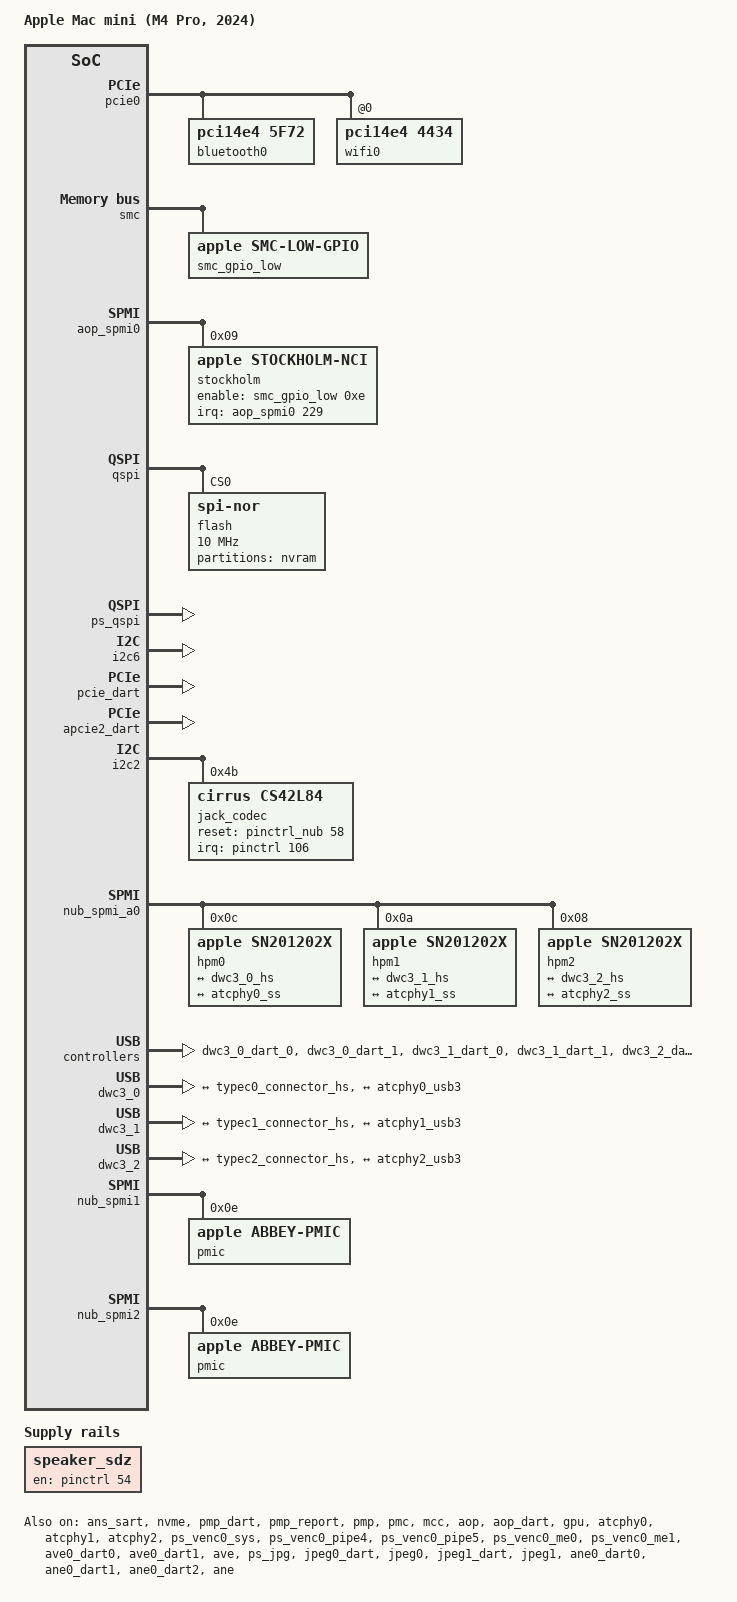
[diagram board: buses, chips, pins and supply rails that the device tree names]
// SPDX-License-Identifier: GPL-2.0+ OR MIT
/*
 * Mac mini (M4 Pro, 2024)
 *
 * target-type: J773s
 *
 * Wired like the J616s from this board's ADT (macOS 26.6.2). It has no
 * panel, keyboard, trackpad, battery, camera or Touch ID sensor.
 *
 * Copyright The Asahi Linux Contributors
 */

/dts-v1/;

#include "t6040.dtsi"
#include "t604x-j575-j773.dtsi"
#include <dt-bindings/gpio/gpio.h>

/ {
	compatible = "apple,j773s", "apple,t6040", "apple,arm-platform";
	model = "Apple Mac mini (M4 Pro, 2024)";

	aliases {
		nvram = &nvram;
		spi0 = &qspi;
		rtc0 = &smc_rtc;
		rtc1 = &pmu_rtc;
		wifi0 = "/pcie@1cb0000000/pci@0,0/wifi@0,0";
		bluetooth0 = "/pcie@1cb0000000/pci@0,0/bluetooth@0,1";
		ethernet0 = &ethernet0;
		/* the boot loader finds the GPU node through this alias */
		gpu = &gpu;
		pmp = &pmp;
		/* the boot loader reserves the SEP firmware through this alias */
		sep = &sep;
	};

	reserved-memory {
		#address-cells = <2>;
		#size-cells = <2>;
		ranges;
		/* The loader adds its own reservations */

		/* Filled and enabled by the loader, as on the J616s. */
		ane_fw_text: ane-firmware-text@0 {
			compatible = "apple,asc-mem";
			reg = <0 0 0 0>;
			no-map;
			status = "disabled";
		};

		ane_fw_data: ane-firmware-data@0 {
			compatible = "apple,asc-mem";
			reg = <0 0 0 0>;
			no-map;
			status = "disabled";
		};

		gpu_fw_text: gpu-fw-text {
			reg = <0 0 0 0>;
			no-map;
			status = "disabled";
		};

		gpu_fw_data: gpu-fw-data {
			reg = <0 0 0 0>;
			no-map;
			status = "disabled";
		};

		uat_ttbs: uat-ttbs {
			reg = <0 0 0 0>;
			no-map;
			status = "disabled";
		};

		uat_pagetables: uat-pagetables {
			reg = <0 0 0 0>;
			no-map;
			status = "disabled";
		};

		uat_l2_pagetables: uat-l2-pagetables {
			reg = <0 0 0 0>;
			no-map;
			status = "disabled";
		};

		uat_handoff: uat-handoff {
			reg = <0 0 0 0>;
			no-map;
			status = "disabled";
		};
	};
};

/* GPU operating points, thermal zones and the sensors they read */
#include "t6040-gpu-thermal.dtsi"

/ {
	/* The speaker amp's shutdown line (SDZ, AP pin 54, low = shutdown). */
	speaker_sdz: regulator-sn012776-sdz {
		compatible = "regulator-fixed";
		regulator-name = "sn012776-sdz";
		gpios = <&pinctrl 54 GPIO_ACTIVE_HIGH>;
		enable-active-high;
	};

	/*
	 * The speaker stays off: there is no protection profile for it, and
	 * the ADT's AOP speaker stream returns no V/I sense. The card, the amp
	 * and the AOP speaker stream are all left out or disabled.
	 */
	sound: sound {
		compatible = "apple,j773-macaudio", "apple,macaudio";
		model = "Mac mini J773";
		#address-cells = <1>;
		#size-cells = <0>;
		status = "disabled";

		dai-link@0 {
			reg = <0>;
			link-name = "Speaker";

			cpu {
				sound-dai = <&aop_audio 3>;
			};

			codec {
				sound-dai = <&speaker>;
			};
		};
	};

	/* The headphone jack, a card of its own as on the J616s. */
	sound_jack: sound-jack {
		compatible = "apple,j773-macaudio-jack", "apple,macaudio";
		model = "Mac mini J773 Jack";
		#address-cells = <1>;
		#size-cells = <0>;

		dai-link@0 {
			reg = <0>;
			link-name = "Headphone Jack";

			cpu {
				sound-dai = <&aop_audio 4>;
			};

			codec {
				sound-dai = <&jack_codec>;
			};
		};
	};
};

&cpuidle {
	status = "okay";
};

&smc {
	status = "okay";

	smc_gpio_low: gpio-low {
		compatible = "apple,smc-low-gpio";
		gpio-controller;
		#gpio-cells = <2>;
		apple,output-templates = <0xe 0x00800000>;
	};
};

/* The Stockholm NFC controller (ADT aop-spmi0 stockholm-spmi), as on the J616s. */
&aop_spmi0 {
	status = "okay";

	stockholm: nfc@9 {
		compatible = "apple,stockholm-nci";
		reg = <9 SPMI_USID>;
		interrupt-parent = <&aop_spmi0>;
		interrupts = <229 IRQ_TYPE_EDGE_RISING>,
			     <230 IRQ_TYPE_EDGE_RISING>,
			     <227 IRQ_TYPE_EDGE_RISING>;
		interrupt-names = "host-wake", "data-ready", "error";
		enable-gpios = <&smc_gpio_low 0xe GPIO_ACTIVE_HIGH>;
	};
};

&smc_mbox {
	status = "okay";
};

&nub_spmi0 {
	status = "okay";
};

&pinctrl {
	status = "okay";

	wifi_clkreq_pins: wifi-clkreq-pins {
		pinmux = <APPLE_PINMUX(0, 1)>;
	};

	eth_clkreq_pins: eth-clkreq-pins {
		pinmux = <APPLE_PINMUX(2, 1)>;
	};
};

/* As on the J616s: the AOP firmware owns this bank's interrupts. */
&pinctrl_nub {
	status = "okay";
	/delete-property/ interrupt-controller;
	/delete-property/ #interrupt-cells;
	/delete-property/ interrupts;
};

/* Boot NOR; the partition is the ADT /arm-io/qspi/spinor/anvram. */
&qspi {
	status = "okay";

	flash@0 {
		compatible = "jedec,spi-nor";
		reg = <0>;
		spi-max-frequency = <10000000>;
		spi-rx-bus-width = <1>;
		spi-tx-bus-width = <1>;

		partitions {
			compatible = "fixed-partitions";
			#address-cells = <1>;
			#size-cells = <1>;

			nvram: partition@700000 {
				label = "nvram";
				reg = <0x700000 0x100000>;
			};
		};
	};
};

&ps_qspi {
	status = "okay";
};

/* The Type-C retimers (ADT uatcrt at 0x18/0x19/0x1a); no driver yet. */
&i2c6 {
	status = "okay";
};

/*
 * Fan and system keys. The J773s SMC key table has not been read: keys it
 * lacks keep their channel and stay hidden.
 */
#include "hwmon-common.dtsi"
#include "hwmon-mini.dtsi"

&smc_hwmon {
	apple,thermal-pressure-key = "mTPL";
};

&pcie_dart {
	status = "okay";
};

&apcie2_dart {
	power-domains = <&ps_apcie_sys_gp>;
	status = "okay";
};

/*
 * Wi-Fi and Bluetooth on port 0 and Ethernet on port 2 (ADT apcie0
 * pci-bridge0 and pci-bridge2). The boot loader finds them through the
 * aliases and adds the calibration and the addresses. The Ethernet chip
 * depends on the configuration, so its node has no compatible.
 */
/ {
	pcie0: pcie@1cb0000000 {
		compatible = "apple,t6041-pcie", "apple,t6020-pcie";
		reg = <0x1c 0xb0000000 0x0 0x1000000>,	/* config */
		      <0x4 0x14000000 0x0 0x4000>,	/* rc */
		      <0x4 0x10028000 0x0 0x4000>,	/* port0 */
		      <0x4 0x11028000 0x0 0x4000>,	/* port1 */
		      <0x4 0x12028000 0x0 0x4000>,	/* port2 */
		      <0x4 0x13028000 0x0 0x4000>,	/* port3 */
		      <0x4 0x17020000 0x0 0x4000>,	/* phy0 */
		      <0x4 0x17024000 0x0 0x4000>,	/* phy1 */
		      <0x4 0x17028000 0x0 0x4000>,	/* phy2 */
		      <0x4 0x1702c000 0x0 0x4000>;	/* phy3 */
		reg-names = "config", "rc",
			    "port0", "port1", "port2", "port3",
			    "phy0", "phy1", "phy2", "phy3";
		ranges = <0x43000000 0xb 0xc0000000 0xb 0xc0000000 0x0 0x20000000>,
			 <0x02000000 0x0 0x80000000 0xb 0x80000000 0x0 0x40000000>;
		pinctrl-names = "default";
		pinctrl-0 = <&wifi_clkreq_pins &eth_clkreq_pins>;
		#address-cells = <3>;
		#size-cells = <2>;
		bus-range = <0 2>;
		iommu-map-mask = <0xffff>;
		iommu-map = <0x100 &pcie_dart 1 2>, <0x200 &apcie2_dart 1 1>;
		msi-ranges = <&aic AIC_IRQ 2071 IRQ_TYPE_EDGE_RISING 32>;
		msi-parent = <&pcie0>;
		msi-controller;
		/* indexed by port */
		interrupts = <AIC_IRQ 1723 IRQ_TYPE_LEVEL_HIGH>,
			     <AIC_IRQ 1732 IRQ_TYPE_LEVEL_HIGH>,
			     <AIC_IRQ 1741 IRQ_TYPE_LEVEL_HIGH>;
		interrupt-parent = <&aic>;
		device_type = "pci";

		port00: pci@0,0 {
			reg = <0 0 0 0 0>;
			ranges;
			interrupt-map = <0 0 0 1 &port00 0 0 0 0>,
					<0 0 0 2 &port00 0 0 0 1>,
					<0 0 0 3 &port00 0 0 0 2>,
					<0 0 0 4 &port00 0 0 0 3>;
			interrupt-map-mask = <0 0 0 7>;
			#interrupt-cells = <1>;
			interrupt-controller;
			#address-cells = <3>;
			#size-cells = <2>;
			/* ADT /amfm reg_on gP13 */
			pwren-gpios = <&smc_gpio 0x13 GPIO_ACTIVE_HIGH>;
			reset-gpios = <&pinctrl 4 GPIO_ACTIVE_LOW>;
			device_type = "pci";

			bluetooth0: bluetooth@0,1 {
				compatible = "pci14e4,5f72";
				reg = <0x100 0 0 0 0>;
				/* To be filled by the loader */
				local-bd-address = [00 00 00 00 00 00];
				/* ADT /arm-io/wlan module-instance */
				brcm,board-type = "apple,sakhalin";
				status = "okay";
			};

			wifi0: wifi@0,0 {
				compatible = "pci14e4,4434", "brcm,bcm4329-fmac";
				reg = <0 0 0 0 0>;
				brcm,ccode-map-trivial;
				brcm,board-type = "apple,sakhalin";
			};
		};

		port02: pci@2,0 {
			device_type = "pci";
			reg = <0x1000 0 0 0 0>;
			reset-gpios = <&pinctrl 6 GPIO_ACTIVE_LOW>;
			bus-range = <2 2>;
			#address-cells = <3>;
			#size-cells = <2>;
			ranges;
			interrupt-controller;
			#interrupt-cells = <1>;
			interrupt-map-mask = <0 0 0 7>;
			interrupt-map = <0 0 0 1 &port02 0 0 0 0>,
					<0 0 0 2 &port02 0 0 0 1>,
					<0 0 0 3 &port02 0 0 0 2>,
					<0 0 0 4 &port02 0 0 0 3>;

			ethernet0: ethernet@0,0 {
				reg = <0x20000 0x0 0x0 0x0 0x0>;
				/* To be filled by the loader */
				local-mac-address = [00 10 18 00 00 00];
			};
		};
	};
};

&ans_mbox {
	status = "okay";
};

&ans_sart {
	status = "okay";
};

&nvme {
	status = "okay";
};

&pmp_dart {
	status = "okay";
};

&pmp_report {
	status = "okay";
};

&pmp {
	status = "okay";
};

&pmp_mbox {
	status = "okay";
};

&pmc {
	status = "okay";
};

&mcc {
	status = "okay";
};

&aop {
	status = "okay";
};

&aop_mbox {
	status = "okay";
};

&aop_dart {
	status = "okay";
};

/* No ambient light sensor and no lid. */
&aop_als {
	status = "disabled";
};

&aop_las {
	status = "disabled";
};

&admac0 {
	status = "okay";
};

&admac1 {
	status = "okay";
};

/*
 * No microphones: only the jack's streams, "cout" and "cin" on base-ns ADMAC
 * channels 4 and 5 (ADT audio-codec-output and audio-codec-input).
 */
&aop_audio {
	dmas = <&admac1 4>, <&admac1 5>;
	dma-names = "cout", "cin";
	apple,chassis-name = "J773";
	apple,machine-kind = "Mac mini";
};

/*
 * The SN012776 speaker amp (ADT /arm-io/i2c1/audio-speaker): interrupt on AP
 * pin 55, sense slots from speaker-config as on the J616s. Disabled with the
 * speaker card.
 */
&i2c1 {
	speaker: codec@38 {
		compatible = "ti,sn012776", "ti,tas2764";
		reg = <0x38>;
		SDZ-supply = <&speaker_sdz>;
		#sound-dai-cells = <0>;
		sound-name-prefix = "Speaker";
		interrupts-extended = <&pinctrl 55 IRQ_TYPE_LEVEL_LOW>;
		ti,imon-slot-no = <0>;
		ti,vmon-slot-no = <2>;
		status = "disabled";
	};
};

/*
 * The CS42L84 headphone codec (ADT /arm-io/i2c2/audio-codec-output@4B):
 * reset on nub pin 58, interrupt on AP pin 106, as on the J616s.
 */
&i2c2 {
	status = "okay";

	jack_codec: codec@4b {
		compatible = "cirrus,cs42l84";
		reg = <0x4b>;
		reset-gpios = <&pinctrl_nub 58 GPIO_ACTIVE_HIGH>;
		#sound-dai-cells = <0>;
		interrupts-extended = <&pinctrl 106 IRQ_TYPE_LEVEL_LOW>;
		sound-name-prefix = "Jack";
	};
};

/* As on the J616s: the loaded GPU firmware keeps running across sleep. */
&ps_afr {
	apple,always-on;
};

&ps_gfx {
	apple,always-on;
};

/* The loader fills the operating points, calibration and all six memory regions. */
&agx_mbox {
	status = "okay";
};

&gpu {
	memory-region = <&uat_ttbs>, <&uat_pagetables>, <&uat_handoff>,
			<&gpu_fw_data>, <&uat_l2_pagetables>, <&gpu_fw_text>;
	memory-region-names = "ttbs", "pagetables", "handoff", "fw-data",
			      "l2-pagetables", "fw-text";
	operating-points-v2 = <&gpu_opp>;
	apple,cs-opp = <&gpu_cs_opp>;
	apple,afr-opp = <&gpu_afr_opp>;
	apple,idle-off-delay-ms = <16>;
	status = "okay";
};

/*
 * The three back Thunderbolt ports (ADT nub-spmi-a0 hpm0-2), all on one
 * bus. The ADT lists the event, sleep and wake interrupts; select is event
 * + 2. The two front ports are behind a hub, in t6040-j773s-usb-front.dtsi.
 */
&nub_spmi_a0 {
	status = "okay";

	hpm0: usb-pd@c {
		compatible = "apple,sn201202x";
		reg = <0xc SPMI_USID>;
		interrupts = <11 IRQ_TYPE_EDGE_RISING>,
			     <13 IRQ_TYPE_EDGE_RISING>,
			     <17 IRQ_TYPE_EDGE_RISING>,
			     <19 IRQ_TYPE_EDGE_RISING>;
		interrupt-names = "irq", "select", "sleep", "wake";

		typec0: connector {
			compatible = "usb-c-connector";
			label = "USB-C Back Middle";
			power-role = "dual";
			data-role = "dual";

			ports {
				#address-cells = <1>;
				#size-cells = <0>;

				port@0 {
					reg = <0>;
					typec0_connector_hs: endpoint {
						remote-endpoint = <&dwc3_0_hs>;
					};
				};

				port@1 {
					reg = <1>;
					typec0_connector_ss: endpoint {
						remote-endpoint = <&atcphy0_ss>;
					};
				};
			};
		};
	};

	hpm1: usb-pd@a {
		compatible = "apple,sn201202x";
		reg = <0xa SPMI_USID>;
		interrupts = <37 IRQ_TYPE_EDGE_RISING>,
			     <39 IRQ_TYPE_EDGE_RISING>,
			     <43 IRQ_TYPE_EDGE_RISING>,
			     <45 IRQ_TYPE_EDGE_RISING>;
		interrupt-names = "irq", "select", "sleep", "wake";

		typec1: connector {
			compatible = "usb-c-connector";
			label = "USB-C Back Left";
			power-role = "dual";
			data-role = "dual";

			ports {
				#address-cells = <1>;
				#size-cells = <0>;

				port@0 {
					reg = <0>;
					typec1_connector_hs: endpoint {
						remote-endpoint = <&dwc3_1_hs>;
					};
				};

				port@1 {
					reg = <1>;
					typec1_connector_ss: endpoint {
						remote-endpoint = <&atcphy1_ss>;
					};
				};
			};
		};
	};

	hpm2: usb-pd@8 {
		compatible = "apple,sn201202x";
		reg = <0x8 SPMI_USID>;
		interrupts = <63 IRQ_TYPE_EDGE_RISING>,
			     <65 IRQ_TYPE_EDGE_RISING>,
			     <69 IRQ_TYPE_EDGE_RISING>,
			     <71 IRQ_TYPE_EDGE_RISING>;
		interrupt-names = "irq", "select", "sleep", "wake";

		typec2: connector {
			compatible = "usb-c-connector";
			label = "USB-C Back Right";
			power-role = "dual";
			data-role = "dual";

			ports {
				#address-cells = <1>;
				#size-cells = <0>;

				port@0 {
					reg = <0>;
					typec2_connector_hs: endpoint {
						remote-endpoint = <&dwc3_2_hs>;
					};
				};

				port@1 {
					reg = <1>;
					typec2_connector_ss: endpoint {
						remote-endpoint = <&atcphy2_ss>;
					};
				};
			};
		};
	};
};

&atcphy0 {
	status = "okay";

	ports {
		#address-cells = <1>;
		#size-cells = <0>;

		port@0 {
			reg = <0>;
			atcphy0_ss: endpoint {
				remote-endpoint = <&typec0_connector_ss>;
			};
		};

		port@1 {
			reg = <1>;
			atcphy0_usb3: endpoint {
				remote-endpoint = <&dwc3_0_ss>;
			};
		};
	};
};

&atcphy0_mbox {
	status = "okay";
};

&dwc3_0_dart_0 {
	status = "okay";
};

&dwc3_0_dart_1 {
	status = "okay";
};

&dwc3_0 {
	status = "okay";

	ports {
		#address-cells = <1>;
		#size-cells = <0>;

		port@0 {
			reg = <0>;
			dwc3_0_hs: endpoint {
				remote-endpoint = <&typec0_connector_hs>;
			};
		};

		port@1 {
			reg = <1>;
			dwc3_0_ss: endpoint {
				remote-endpoint = <&atcphy0_usb3>;
			};
		};
	};
};

&atcphy1 {
	status = "okay";

	ports {
		#address-cells = <1>;
		#size-cells = <0>;

		port@0 {
			reg = <0>;
			atcphy1_ss: endpoint {
				remote-endpoint = <&typec1_connector_ss>;
			};
		};

		port@1 {
			reg = <1>;
			atcphy1_usb3: endpoint {
				remote-endpoint = <&dwc3_1_ss>;
			};
		};
	};
};

&atcphy1_mbox {
	status = "okay";
};

&dwc3_1_dart_0 {
	status = "okay";
};

&dwc3_1_dart_1 {
	status = "okay";
};

&dwc3_1 {
	status = "okay";

	ports {
		#address-cells = <1>;
		#size-cells = <0>;

		port@0 {
			reg = <0>;
			dwc3_1_hs: endpoint {
				remote-endpoint = <&typec1_connector_hs>;
			};
		};

		port@1 {
			reg = <1>;
			dwc3_1_ss: endpoint {
				remote-endpoint = <&atcphy1_usb3>;
			};
		};
	};
};

&atcphy2 {
	status = "okay";

	ports {
		#address-cells = <1>;
		#size-cells = <0>;

		port@0 {
			reg = <0>;
			atcphy2_ss: endpoint {
				remote-endpoint = <&typec2_connector_ss>;
			};
		};

		port@1 {
			reg = <1>;
			atcphy2_usb3: endpoint {
				remote-endpoint = <&dwc3_2_ss>;
			};
		};
	};
};

&atcphy2_mbox {
	status = "okay";
};

&dwc3_2_dart_0 {
	status = "okay";
};

&dwc3_2_dart_1 {
	status = "okay";
};

&dwc3_2 {
	status = "okay";

	ports {
		#address-cells = <1>;
		#size-cells = <0>;

		port@0 {
			reg = <0>;
			dwc3_2_hs: endpoint {
				remote-endpoint = <&typec2_connector_hs>;
			};
		};

		port@1 {
			reg = <1>;
			dwc3_2_ss: endpoint {
				remote-endpoint = <&atcphy2_usb3>;
			};
		};
	};
};

#include "t6040-j773s-usb3.dtsi"
#include "t6040-j773s-usb-front.dtsi"

/* The video encoder, its DARTs and its power domains. */
&ps_venc0_sys {
	status = "okay";
};

&ps_venc0_dma {
	status = "okay";
};

&ps_venc0_pipe4 {
	status = "okay";
};

&ps_venc0_pipe5 {
	status = "okay";
};

&ps_venc0_me0 {
	status = "okay";
};

&ps_venc0_me1 {
	status = "okay";
};

&ave0_dart0 {
	status = "okay";
};

&ave0_dart1 {
	status = "okay";
};

&ave {
	status = "okay";
};

/* The JPEG codecs (ADT jpeg0 and jpeg1), as on the J616s. */
&ps_jpg {
	status = "okay";
};

&jpeg0_dart {
	status = "okay";
};

&jpeg0 {
	status = "okay";
};

&jpeg1_dart {
	status = "okay";
};

&jpeg1 {
	status = "okay";
};

/* The Abbey PMICs on the two other NUB SPMI buses (ADT spmi-abbeyF1/F2). */
&nub_spmi1 {
	status = "okay";

	pmic@e {
		compatible = "apple,abbey-pmic", "apple,spmi-nvmem";
		reg = <0xe SPMI_USID>;
	};
};

&nub_spmi2 {
	status = "okay";

	pmic@e {
		compatible = "apple,abbey-pmic", "apple,spmi-nvmem";
		reg = <0xe SPMI_USID>;
	};
};

&ps_nub_spmi_ahb {
	status = "okay";
};

&ps_nub_spmi1 {
	status = "okay";
};

&ps_nub_spmi2 {
	status = "okay";
};

/* As on the J616s: idle until the loader fills the preload reservations. */
&ane0_dart0 {
	status = "okay";
};

&ane0_dart1 {
	status = "okay";
};

&ane0_dart2 {
	status = "okay";
};

&ane {
	memory-region = <&ane_fw_text>, <&ane_fw_data>;
	memory-region-names = "firmware-text", "firmware-data";
	power-domains = <&ps_ane_sys>, <&ps_ane_cpu>, <&ps_ane_mpm>,
			<&ps_ane_td>, <&ps_ane_base>, <&pmc_soc_max>;
	power-domain-names = "sys", "cpu", "mpm", "td", "base", "perf";
	status = "okay";
};

/*
 * HDMI is not described: it runs through the LPDPTX PHY (ADT lpdptx-phy0,
 * display crossbar output 4) and a converter on i2c8, which have no T6040
 * driver. The SEP stays off: its driver only runs on boards whose Touch ID
 * wiring was read.
 */
